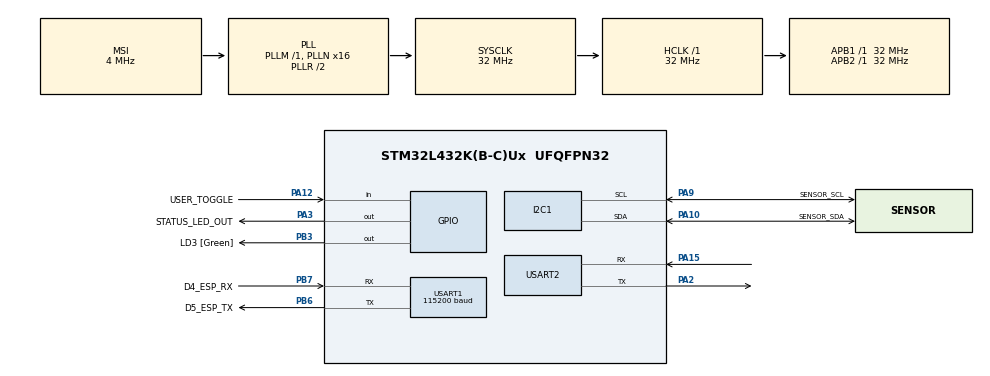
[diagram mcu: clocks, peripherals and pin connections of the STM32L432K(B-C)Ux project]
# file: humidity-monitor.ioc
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I2C1.Timing=0x00B07CB4
Mcu.Family=STM32L4
Mcu.Name=STM32L432K(B-C)Ux
Mcu.Package=UFQFPN32
NVIC.PriorityGroup=NVIC_PRIORITYGROUP_4
NVIC.USART1_IRQn=true\:0\:0\:false\:false\:true\:true\:true\:true
PA0.GPIO_Label=MCO [High speed clock in]
PA0.Mode=HSE-External-Clock-Source-for-LittleOrca
PA0.Signal=RCC_CK_IN
PA10.GPIO_Label=SENSOR_SDA
PA10.GPIO_Pu=GPIO_PULLUP
PA10.Mode=I2C
PA10.Signal=I2C1_SDA
PA12.GPIO_Label=USER_TOGGLE
PA12.GPIO_PuPd=GPIO_PULLUP
PA12.Signal=GPIO_Input
PA13\ (JTMS-SWDIO).GPIO_Label=SWDIO
PA13\ (JTMS-SWDIO).Mode=Serial_Wire
PA13\ (JTMS-SWDIO).Signal=SYS_JTMS-SWDIO
PA14\ (JTCK-SWCLK).GPIO_Label=SWCLK
PA14\ (JTCK-SWCLK).Mode=Serial_Wire
PA14\ (JTCK-SWCLK).Signal=SYS_JTCK-SWCLK
PA15\ (JTDI).GPIO_ModeDefaultPP=GPIO_MODE_AF_PP
PA15\ (JTDI).GPIO_PuPd=GPIO_NOPULL
PA15\ (JTDI).GPIO_Speed=GPIO_SPEED_FREQ_VERY_HIGH
PA15\ (JTDI).Mode=Asynchronous
PA15\ (JTDI).Signal=USART2_RX
PA2.GPIO_ModeDefaultPP=GPIO_MODE_AF_PP
PA2.GPIO_PuPd=GPIO_NOPULL
PA2.GPIO_Speed=GPIO_SPEED_FREQ_VERY_HIGH
PA2.Mode=Asynchronous
PA2.Signal=USART2_TX
PA3.GPIO_Label=STATUS_LED_OUT
PA3.Signal=GPIO_Output
PA9.GPIO_Label=SENSOR_SCL
PA9.GPIO_Pu=GPIO_PULLUP
PA9.Mode=I2C
PA9.Signal=I2C1_SCL
PB3\ (JTDO-TRACESWO).GPIO_Label=LD3 [Green]
PB3\ (JTDO-TRACESWO).Signal=GPIO_Output
PB6.GPIO_FM6=__NULL
PB6.GPIO_Label=D5_ESP_TX
PB6.Mode=Asynchronous
PB6.Signal=USART1_TX
PB7.GPIO_Label=D4_ESP_RX
PB7.Mode=Asynchronous
PB7.Signal=USART1_RX
PC14-OSC32_IN\ (PC14).Mode=LSE-External-Oscillator
PC14-OSC32_IN\ (PC14).Signal=RCC_OSC32_IN
PC15-OSC32_OUT\ (PC15).Mode=LSE-External-Oscillator
PC15-OSC32_OUT\ (PC15).Signal=RCC_OSC32_OUT
ProjectManager.HeapSize=0x200
ProjectManager.StackSize=0x400
ProjectManager.TargetToolchain=STM32CubeIDE
RCC.AHBFreq_Value=32000000
RCC.APB1Freq_Value=32000000
RCC.APB1TimFreq_Value=32000000
RCC.APB2Freq_Value=32000000
RCC.APB2TimFreq_Value=32000000
RCC.CortexFreq_Value=32000000
RCC.HCLKFreq_Value=32000000
RCC.HSE_VALUE=8000000
RCC.HSI16_VALUE=16000000
RCC.HSI48_VALUE=48000000
RCC.HSI_VALUE=16000000
RCC.MSI_VALUE=4000000
RCC.PLLMUL=RCC_PLLMUL_4
RCC.PLLN=16
RCC.SYSCLKFreq_VALUE=32000000
RCC.SYSCLKSource=RCC_SYSCLKSOURCE_PLLCLK
RCC.VCOOutputFreq_Value=64000000
USART1.BaudRate=115200
USART1.SwapParam=ADVFEATURE_SWAP_DISABLE
USART1.VirtualMode-Asynchronous=VM_ASYNC
USART2.VirtualMode-Asynchronous=VM_ASYNC
board=NUCLEO-L432KC

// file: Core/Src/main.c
/* USER CODE BEGIN Header */
/**
 ******************************************************************************
 * @file           : main.c
 * @brief          : Monitors the temperature and humidity in a ceramics workshop.
 * 					 By monitoring the humidity of drying pots, the user can be
 * 					 better informed about when to trim the pots or adjust the
 * 					 room's environment for optimal drying conditions.
 ******************************************************************************
 * @attention
 *
 * Copyright (c) 2025 Daniel Weiner.
 * All rights reserved.
 *
 * This software is licensed under terms that can be found in the LICENSE file
 * in the root directory of this software component.
 *
 ******************************************************************************
 */
/* USER CODE END Header */
#include "main.h"

/* USER CODE BEGIN Includes */
#include <i2c_lcd.h>
#include <inttypes.h>
#include <stdarg.h>
#include <stdbool.h>
#include <stdint.h>
#include <stdio.h>
#include <stdlib.h>
#include <string.h>

#include "chars.h"
#include "constants.h"
#include "digits.h"
#include "esp8266.h"
#include "lcd.h"
#include "log.h"
#include "parser/access_point.h"
#include "parser/http_response.h"
#include "parser/int.h"
#include "parser/ipd.h"
#include "parser/parse.h"
#include "parser/token.h"
#include "request/byte_consumers.h"
#include "request/state.h"
#include "request/state_transitions.h"
#include "retry.h"
#include "sensor.h"
#include "state_machine.h"
#include "wifi/byte_consumers.h"
#include "wifi/retries.h"
#include "wifi/state.h"
#include "wifi/state_transitions.h"

/* USER CODE END Includes */

/* USER CODE BEGIN PD */

#define DECLARE_AT_TOKEN(name, tk) DECLARE_TOKEN(name, CRLF tk)
#define DECLARE_AT_TOKEN_CRLF(name, tk) DECLARE_AT_TOKEN(name, tk CRLF)

/* USER CODE END PD */

/* USER CODE BEGIN PM */
#define send_esp8266_message_default(fmt) (esp8266_printf_default(&esp8266State, (fmt CRLF)))
#define sendf_esp8266_message_default(fmt, ...) (esp8266_printf_default(&esp8266State, (fmt CRLF), __VA_ARGS__))
#define send_esp8266_message(buf, len, fmt) (esp8266_printf(&esp8266State, buf, len, (fmt CRLF)))
#define sendf_esp8266_message(buf, len, fmt, ...) (esp8266_printf(&esp8266State, buf, len, (fmt CRLF), __VA_ARGS__))
#define send_esp8266_raw(buf, len) (esp8266_send(&esp8266State, buf, len))

/* USER CODE END PM */

I2C_HandleTypeDef hi2c1;

UART_HandleTypeDef huart1;
UART_HandleTypeDef huart2;

/* USER CODE BEGIN PV */
static char				 rxBuffer[RX_BUFFER_SIZE];	// RX ring buffer
static uint8_t			 rxByte = 0;
static volatile uint16_t rxBufferTail = 0;
static ESP8266State		*esp8266StatePtr = NULL;

DECLARE_AT_TOKEN_CRLF(OK, ESP8266_TOKEN_OK);
DECLARE_TOKEN(OK_NO_PREFIX, ESP8266_TOKEN_OK CRLF);
DECLARE_AT_TOKEN_CRLF(ERROR_TOKEN, ESP8266_TOKEN_ERROR);
DECLARE_TOKEN(ERROR_NO_PREFIX, ESP8266_TOKEN_ERROR CRLF);
DECLARE_TOKEN(READY, ESP8266_TOKEN_READY CRLF);
DECLARE_AT_TOKEN_CRLF(CLOSED, ESP8266_TOKEN_CLOSED);
DECLARE_AT_TOKEN(CARET, ">");
DECLARE_IPD_TOKEN();
DECLARE_TOKEN(AT_TOKEN_GMR, AT_COMMAND_GMR CRLF);
DECLARE_AT_TOKEN_CRLF(AT_TOKEN_WIFI_DISCONNECT, ESP8266_TOKEN_WIFI_DISCONNECT);
// default year, before SNTP updates the ESP8266's clock... unless it takes a year to
// do so (or it's actually 1970)
DECLARE_TOKEN(AT_TOKEN_INVALID_SNTP_TIME, "1970" CRLF);
DECLARE_AT_TOKEN(AT_TOKEN_SYSTIMESTAMP, "+SYSTIMESTAMP:");
/* USER CODE END PV */

void		SystemClock_Config(void);
static void MX_GPIO_Init(void);
static void MX_USART2_UART_Init(void);
static void MX_I2C1_Init(void);
static void MX_USART1_UART_Init(void);
/* USER CODE BEGIN PFP */
static void display_readings(I2C_LCD_HandleTypeDef *, TemperatureUnit, float, float);
static char get_next_esp8266_byte();

/* USER CODE END PFP */

/* USER CODE BEGIN 0 */
void HAL_UART_RxCpltCallback(UART_HandleTypeDef *huart) {
	static uint16_t rxIndex = 0;
	if (huart->Instance == USART1) {
		rxBuffer[rxIndex++] = rxByte;
		rxIndex %= RX_BUFFER_SIZE;
		rxBufferTail = rxIndex;
		HAL_UART_Receive_IT(&huart1, &rxByte, 1);
	}
}

void HAL_UART_TxCpltCallback(UART_HandleTypeDef *huart) {
	if (huart->Instance == USART1) {
		esp8266_transmit_complete(esp8266StatePtr);
	}
}

static char get_next_esp8266_byte() {
	static uint16_t head = 0;
	uint16_t		tail = rxBufferTail;

	if (head == tail) return '\0';

	char ch = rxBuffer[head++];
	head %= RX_BUFFER_SIZE;
	return ch;
}

static void display_readings(I2C_LCD_HandleTypeDef *lcd, TemperatureUnit unit, float temperature, float humidity) {
	char unitChar = unit == FAHRENHEIT ? 'F' : 'C';
	printf_lcd(lcd, 0, "Temp: %.1f %c", temperature, unitChar);
	printf_lcd(lcd, 1, "Humidity: %.1f%%", humidity);
}

void on_retry(RetryState *state) {
	LOG("Retrying in %lu ms..." CRLF, state->retryDelay);
}

void on_retry_failure(RetryState *state) {
	LOG("Retry failure after %d attempts" CRLF, state->retries);
}

/* USER CODE END 0 */

int main(void) {

	/* MCU Configuration--------------------------------------------------------*/

	/* Reset of all peripherals, Initializes the Flash interface and the Systick. */
	HAL_Init();

	/* Configure the system clock */
	SystemClock_Config();

	/* Initialize all configured peripherals */
	MX_GPIO_Init();
	MX_USART2_UART_Init();
	MX_I2C1_Init();
	MX_USART1_UART_Init();
	/* USER CODE BEGIN 2 */
	static I2C_LCD_HandleTypeDef lcd1;
	static char					 requestPayload[PAYLOAD_BUFFER_SIZE] = {0};
	static SensorMeasurement	 measurements[MEASUREMENT_BUFFER_SIZE] = {0};
	static size_t				 measurementCount = 0;
	static size_t				 measurementWriteIndex = 0;	 // index to write the next measurement to
	static ESP8266State			 esp8266State = {
				 .status = ESP8266_STATE_TRANSMITTING_DONE, .readyToken = TOKEN_PARSE_STATE(READY), .uart = &huart1};
	static uint32_t		 lastSensorReading = 0;
	static GPIO_PinState lastButtonState = GPIO_PIN_SET;
	static uint32_t		 lastWifiReady = 0;	 // Last time the WiFi state was updated

	static WifiState	wifiState = WIFI_STATE_RESET;
	static RequestState requestState = REQUEST_STATE_DISABLED;
	static EpochTick	epochTick = {0};

	static const MachineStateRetry		  *wifiRetries[WIFI_STATE_MAX + 1] = {NULL};
	static const MachineStateTransition	  *wifiStateTransitions[WIFI_STATE_MAX + 1] = {NULL};
	static const MachineStateByteConsumer *wifiByteConsumers[WIFI_STATE_MAX + 1] = {NULL};

	static const MachineStateRetry		  *requestRetries[REQUEST_STATE_MAX + 1] = {NULL};
	static const MachineStateTransition	  *requestStateTransitions[REQUEST_STATE_MAX + 1] = {NULL};
	static const MachineStateByteConsumer *requestByteConsumers[REQUEST_STATE_MAX + 1] = {NULL};

	static StateMachine wifiStateMachineBase = {
		.currentState = (int *)&wifiState,
		.retries = wifiRetries,
		.stateTransitions = wifiStateTransitions,
		.byteConsumers = wifiByteConsumers,
		.stateCount = WIFI_STATE_MAX + 1,
	};

	static WifiStateMachine wifiStateMachine = {
		.epochTick = &epochTick,
		.lastSntpUpdate = 0,
		.okToken = TOKEN_PARSE_STATE(OK),
		.okTokenNoCRLFPrefix = TOKEN_PARSE_STATE(OK_NO_PREFIX),
		.errorToken = TOKEN_PARSE_STATE(ERROR_TOKEN),
		.errorTokenNoCRLFPrefix = TOKEN_PARSE_STATE(ERROR_NO_PREFIX),
		.doubleCrlfToken = TOKEN_PARSE_STATE(DOUBLE_CRLF_TOKEN),
		.gmrCommandToken = TOKEN_PARSE_STATE(AT_TOKEN_GMR),
		.wifiDisconnectToken = TOKEN_PARSE_STATE(AT_TOKEN_WIFI_DISCONNECT),
		.sntpInvalidTime = TOKEN_PARSE_STATE(AT_TOKEN_INVALID_SNTP_TIME),
		.sysTimestampToken = TOKEN_PARSE_STATE(AT_TOKEN_SYSTIMESTAMP),
		.accessPoint = ACCESS_POINT(),
		.stateMachine = &wifiStateMachineBase,
	};

	static StateMachine requestStateMachineBase = {
		.currentState = (int *)&requestState,
		.retries = requestRetries,
		.stateTransitions = requestStateTransitions,
		.byteConsumers = requestByteConsumers,
		.stateCount = REQUEST_STATE_MAX + 1,
	};

	static RequestStateMachine requestStateMachine = {.stateMachine = &requestStateMachineBase,
													  .wifiState = (int *)&wifiState,
													  .lastSntpUpdate = (int *)&wifiStateMachine.lastSntpUpdate,
													  .requestPayload = requestPayload,
													  .epochTick = &epochTick,
													  .sensorMeasurements = measurements,
													  .measurementCount = &measurementCount,
													  .payloadBufferSize = PAYLOAD_BUFFER_SIZE,
													  .measurementBufferCount = MEASUREMENT_BUFFER_SIZE,
													  .ipdState = IPD_PARSE_STATE(),
													  .response = HTTP_RESPONSE(),
													  .measurementIndex = 0,
													  .nextMeasurementIndex = 0,
													  .lastBatchSize = 0,
													  .requestLength = 0,
													  .lastHttpRequest = 0,
													  .okToken = TOKEN_PARSE_STATE(OK),
													  .errorToken = TOKEN_PARSE_STATE(ERROR_TOKEN),
													  .caretToken = TOKEN_PARSE_STATE(CARET),
													  .closedToken = TOKEN_PARSE_STATE(CLOSED)};

	register_wifi_state_transitions(&wifiStateMachine);
	register_wifi_state_retries(&wifiStateMachine);
	register_wifi_state_byte_consumers(&wifiStateMachine);

	register_request_state_transitions(&requestStateMachine);
	register_request_state_byte_consumers(&requestStateMachine);

	esp8266StatePtr = &esp8266State;
	lcd1.hi2c = &hi2c1;
	lcd1.address = LCD_ADDRESS;
	lcd_init(&lcd1);

	HAL_UART_Receive_IT(&huart1, &rxByte, 1);
	/* USER CODE END 2 */

	/* Infinite loop */
	/* USER CODE BEGIN WHILE */

	LOG("-------------------------------------------------------------------" CRLF CRLF);
	while (1) {
		uint32_t now = HAL_GetTick();

		GPIO_PinState buttonState = HAL_GPIO_ReadPin(USER_TOGGLE_GPIO_Port, USER_TOGGLE_Pin);
		bool		  buttonPressed = buttonState == GPIO_PIN_RESET;

		// LCD backlight is turned on when the button is pressed, off when released
		if (lastButtonState != buttonState) {
			if (buttonPressed) {
				lcd_backlight_on(&lcd1);
			} else {
				lcd_backlight_off(&lcd1);
			}
		}

		lastButtonState = buttonState;

		if (lastSensorReading == 0 || now - lastSensorReading >= SENSOR_THROTTLE_MS) {
			lastSensorReading = now;

			// Turn on the status LED while making measurements if the button is
			// pressed
			if (buttonPressed) HAL_GPIO_WritePin(STATUS_LED_OUT_GPIO_Port, STATUS_LED_OUT_Pin, GPIO_PIN_SET);

			// Write to the LCD readout

			TemperatureUnit tempUnit = FAHRENHEIT;
			float			temperatureFormatted = 0.f, humidityFormatted = 0.f;
			uint16_t		temperature = 0, humidity = 0;
			if (get_readings(&temperature, &humidity)) {
				readings_to_float(tempUnit, temperature, humidity, &temperatureFormatted, &humidityFormatted);
				add_measurement(measurements, &measurementCount, &measurementWriteIndex, temperature, humidity, now);
				display_readings(&lcd1, tempUnit, temperatureFormatted, humidityFormatted);
			}

			// Turn off the status LED
			if (buttonPressed) HAL_GPIO_WritePin(STATUS_LED_OUT_GPIO_Port, STATUS_LED_OUT_Pin, GPIO_PIN_RESET);
		}

		// Get the next byte from the ESP8266 ring buffer, if any.
		char receivedByte = get_next_esp8266_byte();
		process_machine_state(&wifiStateMachineBase, receivedByte, now);
		process_machine_state(&requestStateMachineBase, receivedByte, now);

		switch (wifiState) {
			case WIFI_STATE_RESET:
				if (now < STARTUP_DELAY_MS) break;	// give the ESP8266 time to be ready after cold boot
				esp8266_set_status(&esp8266State, ESP8266_STATE_TRANSMITTING_DONE);
				if (send_esp8266_message_default(AT_COMMAND_RST)) {
					LOG("Resetting ESP8266..." CRLF);
					lastWifiReady = now;
					wifiState = WIFI_STATE_RESETTING;
				}
				break;
			case WIFI_STATE_MODULE_WAIT_FOR_READY:
				esp8266_wait_until_ready(&esp8266State, receivedByte);
				if (esp8266_has_status(&esp8266State, ESP8266_STATE_READY)) {
					LOG("ESP8266 ready" CRLF);
					wifiState = WIFI_STATE_GET_FIRMWARE_INFO;
				}
				break;
			case WIFI_STATE_GET_FIRMWARE_INFO:
				if (send_esp8266_message_default(AT_COMMAND_GMR)) {
					LOG("ESP8266 firmware info:" CRLF);
					wifiState = WIFI_STATE_GETTING_FIRMWARE_INFO;
				}
				break;
			case WIFI_STATE_ENABLE_WIFI:
				if (send_esp8266_message_default(AT_COMMAND_CWMODE)) {
					LOG("Enabling wifi..." CRLF);
					wifiState = WIFI_STATE_ENABLING;
				}
				break;
			case WIFI_STATE_SCAN_NETWORKS:
				if (send_esp8266_message_default(AT_COMMAND_CWLAP)) {
					LOG("Scanning networks..." CRLF);
					wifiState = WIFI_STATE_SCANNING;
				}
				break;
			case WIFI_STATE_CONNECT_NETWORK:
				AccessPoint *ap = &wifiStateMachine.accessPoint;

				if (sendf_esp8266_message_default(AT_COMMAND_CWJAP, ap->ssid, ap->pass)) {
					LOG("Connecting to %s" CRLF, ap->ssid);
					wifiState = WIFI_STATE_CONNECTING;
				}
				break;
			case WIFI_STATE_SET_CONNECTION_MODE:
				if (send_esp8266_message_default(AT_COMMAND_CIPMUX)) {
					wifiState = WIFI_STATE_SETTING_CONNECTION_MODE;
				}
				break;
			case WIFI_STATE_CONFIGURE_SNTP:
				if (send_esp8266_message_default(AT_COMMAND_CIPSNTPCFG)) {
					LOG("Getting remote time..." CRLF);
					wifiState = WIFI_STATE_CONFIGURING_SNTP;
				}
				break;
			case WIFI_STATE_UPDATE_SNTP_TIME:
				if (now - wifiStateMachine.lastSntpUpdate < SNTP_UPDATE_THROTTLE_MS) break;
				if (send_esp8266_message_default(AT_COMMAND_CIPSNTPTIME)) {
					wifiState = WIFI_STATE_UPDATING_SNTP_TIME;
					wifiStateMachine.lastSntpUpdate = now;
				}
				break;
			case WIFI_STATE_GET_TIME:
				if (send_esp8266_message_default(AT_COMMAND_SYSTIMESTAMP)) {
					wifiState = WIFI_STATE_GETTING_TIME;
				}
				break;
			case WIFI_STATE_WIFI_READY:
				lastWifiReady = now;  // keep the watchdog timer fresh during normal operation
				break;
			default:
				break;
		}

		if (wifiState != WIFI_STATE_WIFI_READY && now - lastWifiReady > WIFI_WATCHDOG_TIMEOUT_MS) {
			LOG("Wifi watchdog timeout" CRLF);
			wifiState = WIFI_STATE_RESET;  // reset the wifi state on watchdog timeout
			continue;
		}

		if (wifiState == WIFI_STATE_WIFI_READY && requestState == REQUEST_STATE_DISABLED) {
			LOG("Enabling HTTP requests" CRLF);
			requestState = REQUEST_STATE_ENABLED;
		}

		if (wifiState != WIFI_STATE_WIFI_READY && requestState != REQUEST_STATE_DISABLED) {
			LOG("Disabling HTTP requests" CRLF);
			requestState = REQUEST_STATE_DISABLED;
		}

		switch (requestState) {
			case REQUEST_STATE_SEND_REQUEST:
				if (sendf_esp8266_message_default(AT_COMMAND_CIPSTART, ENDPOINT_HOST)) {
					requestState = REQUEST_STATE_CONNECTING;
				}
				break;
			case REQUEST_STATE_SET_PAYLOAD_LENGTH:
				if (sendf_esp8266_message_default(AT_COMMAND_CIPSEND, requestStateMachine.requestLength)) {
					requestState = REQUEST_STATE_REQUESTING;
				}
				break;
			case REQUEST_STATE_SEND_PAYLOAD:
				if (send_esp8266_raw(requestPayload, requestStateMachine.requestLength)) {
					requestState = REQUEST_STATE_RECEIVING_RESPONSE;
				}
				break;
			default:
				break;
		}

		if (requestState != REQUEST_STATE_DISABLED &&
			now - requestStateMachine.lastHttpRequest > WIFI_WATCHDOG_TIMEOUT_MS) {
			LOG("HTTP request watchdog timeout" CRLF);
			requestStateMachine.lastHttpRequest = now;
			requestState = REQUEST_STATE_DISABLED;	// fail the request on watchdog timeout
			wifiState = WIFI_STATE_RESET;			// reset the wifi state on request watchdog timeout
		}

		/* USER CODE END WHILE */

	}
}

void SystemClock_Config(void) {
	RCC_OscInitTypeDef RCC_OscInitStruct = {0};
	RCC_ClkInitTypeDef RCC_ClkInitStruct = {0};

	/** Configure the main internal regulator output voltage
	 */
	if (HAL_PWREx_ControlVoltageScaling(PWR_REGULATOR_VOLTAGE_SCALE1) != HAL_OK) {
		Error_Handler();
	}

	/** Configure LSE Drive Capability
	 */
	HAL_PWR_EnableBkUpAccess();
	__HAL_RCC_LSEDRIVE_CONFIG(RCC_LSEDRIVE_LOW);

	/** Initializes the RCC Oscillators according to the specified parameters
	 * in the RCC_OscInitTypeDef structure.
	 */
	RCC_OscInitStruct.OscillatorType = RCC_OSCILLATORTYPE_LSE | RCC_OSCILLATORTYPE_MSI;
	RCC_OscInitStruct.LSEState = RCC_LSE_ON;
	RCC_OscInitStruct.MSIState = RCC_MSI_ON;
	RCC_OscInitStruct.MSICalibrationValue = 0;
	RCC_OscInitStruct.MSIClockRange = RCC_MSIRANGE_6;
	RCC_OscInitStruct.PLL.PLLState = RCC_PLL_ON;
	RCC_OscInitStruct.PLL.PLLSource = RCC_PLLSOURCE_MSI;
	RCC_OscInitStruct.PLL.PLLM = 1;
	RCC_OscInitStruct.PLL.PLLN = 16;
	RCC_OscInitStruct.PLL.PLLP = RCC_PLLP_DIV7;
	RCC_OscInitStruct.PLL.PLLQ = RCC_PLLQ_DIV2;
	RCC_OscInitStruct.PLL.PLLR = RCC_PLLR_DIV2;
	if (HAL_RCC_OscConfig(&RCC_OscInitStruct) != HAL_OK) {
		Error_Handler();
	}

	/** Initializes the CPU, AHB and APB buses clocks
	 */
	RCC_ClkInitStruct.ClockType = RCC_CLOCKTYPE_HCLK | RCC_CLOCKTYPE_SYSCLK | RCC_CLOCKTYPE_PCLK1 | RCC_CLOCKTYPE_PCLK2;
	RCC_ClkInitStruct.SYSCLKSource = RCC_SYSCLKSOURCE_PLLCLK;
	RCC_ClkInitStruct.AHBCLKDivider = RCC_SYSCLK_DIV1;
	RCC_ClkInitStruct.APB1CLKDivider = RCC_HCLK_DIV1;
	RCC_ClkInitStruct.APB2CLKDivider = RCC_HCLK_DIV1;

	if (HAL_RCC_ClockConfig(&RCC_ClkInitStruct, FLASH_LATENCY_1) != HAL_OK) {
		Error_Handler();
	}

	/** Enable MSI Auto calibration
	 */
	HAL_RCCEx_EnableMSIPLLMode();
}

static void MX_I2C1_Init(void) {

	hi2c1.Instance = I2C1;
	hi2c1.Init.Timing = 0x00B07CB4;
	hi2c1.Init.OwnAddress1 = 0;
	hi2c1.Init.AddressingMode = I2C_ADDRESSINGMODE_7BIT;
	hi2c1.Init.DualAddressMode = I2C_DUALADDRESS_DISABLE;
	hi2c1.Init.OwnAddress2 = 0;
	hi2c1.Init.OwnAddress2Masks = I2C_OA2_NOMASK;
	hi2c1.Init.GeneralCallMode = I2C_GENERALCALL_DISABLE;
	hi2c1.Init.NoStretchMode = I2C_NOSTRETCH_DISABLE;
	if (HAL_I2C_Init(&hi2c1) != HAL_OK) {
		Error_Handler();
	}

	/** Configure Analogue filter
	 */
	if (HAL_I2CEx_ConfigAnalogFilter(&hi2c1, I2C_ANALOGFILTER_ENABLE) != HAL_OK) {
		Error_Handler();
	}

	/** Configure Digital filter
	 */
	if (HAL_I2CEx_ConfigDigitalFilter(&hi2c1, 0) != HAL_OK) {
		Error_Handler();
	}
}

static void MX_USART1_UART_Init(void) {

	huart1.Instance = USART1;
	huart1.Init.BaudRate = 115200;
	huart1.Init.WordLength = UART_WORDLENGTH_8B;
	huart1.Init.StopBits = UART_STOPBITS_1;
	huart1.Init.Parity = UART_PARITY_NONE;
	huart1.Init.Mode = UART_MODE_TX_RX;
	huart1.Init.HwFlowCtl = UART_HWCONTROL_NONE;
	huart1.Init.OverSampling = UART_OVERSAMPLING_16;
	huart1.Init.OneBitSampling = UART_ONE_BIT_SAMPLE_DISABLE;
	huart1.AdvancedInit.AdvFeatureInit = UART_ADVFEATURE_NO_INIT;
	if (HAL_UART_Init(&huart1) != HAL_OK) {
		Error_Handler();
	}
}

static void MX_USART2_UART_Init(void) {

	huart2.Instance = USART2;
	huart2.Init.BaudRate = 115200;
	huart2.Init.WordLength = UART_WORDLENGTH_8B;
	huart2.Init.StopBits = UART_STOPBITS_1;
	huart2.Init.Parity = UART_PARITY_NONE;
	huart2.Init.Mode = UART_MODE_TX_RX;
	huart2.Init.HwFlowCtl = UART_HWCONTROL_NONE;
	huart2.Init.OverSampling = UART_OVERSAMPLING_16;
	huart2.Init.OneBitSampling = UART_ONE_BIT_SAMPLE_DISABLE;
	huart2.AdvancedInit.AdvFeatureInit = UART_ADVFEATURE_NO_INIT;
	if (HAL_UART_Init(&huart2) != HAL_OK) {
		Error_Handler();
	}
}

static void MX_GPIO_Init(void) {
	GPIO_InitTypeDef GPIO_InitStruct = {0};

	/* GPIO Ports Clock Enable */
	__HAL_RCC_GPIOC_CLK_ENABLE();
	__HAL_RCC_GPIOA_CLK_ENABLE();
	__HAL_RCC_GPIOB_CLK_ENABLE();

	/*Configure GPIO pin Output Level */
	HAL_GPIO_WritePin(STATUS_LED_OUT_GPIO_Port, STATUS_LED_OUT_Pin, GPIO_PIN_RESET);

	/*Configure GPIO pin Output Level */
	HAL_GPIO_WritePin(LD3_GPIO_Port, LD3_Pin, GPIO_PIN_RESET);

	/*Configure GPIO pin : STATUS_LED_OUT_Pin */
	GPIO_InitStruct.Pin = STATUS_LED_OUT_Pin;
	GPIO_InitStruct.Mode = GPIO_MODE_OUTPUT_PP;
	GPIO_InitStruct.Pull = GPIO_NOPULL;
	GPIO_InitStruct.Speed = GPIO_SPEED_FREQ_LOW;
	HAL_GPIO_Init(STATUS_LED_OUT_GPIO_Port, &GPIO_InitStruct);

	/*Configure GPIO pin : USER_TOGGLE_Pin */
	GPIO_InitStruct.Pin = USER_TOGGLE_Pin;
	GPIO_InitStruct.Mode = GPIO_MODE_INPUT;
	GPIO_InitStruct.Pull = GPIO_PULLUP;
	HAL_GPIO_Init(USER_TOGGLE_GPIO_Port, &GPIO_InitStruct);

	/*Configure GPIO pin : LD3_Pin */
	GPIO_InitStruct.Pin = LD3_Pin;
	GPIO_InitStruct.Mode = GPIO_MODE_OUTPUT_PP;
	GPIO_InitStruct.Pull = GPIO_NOPULL;
	GPIO_InitStruct.Speed = GPIO_SPEED_FREQ_LOW;
	HAL_GPIO_Init(LD3_GPIO_Port, &GPIO_InitStruct);

}

void Error_Handler(void) {
	__disable_irq();
	while (1) {
	}
}
